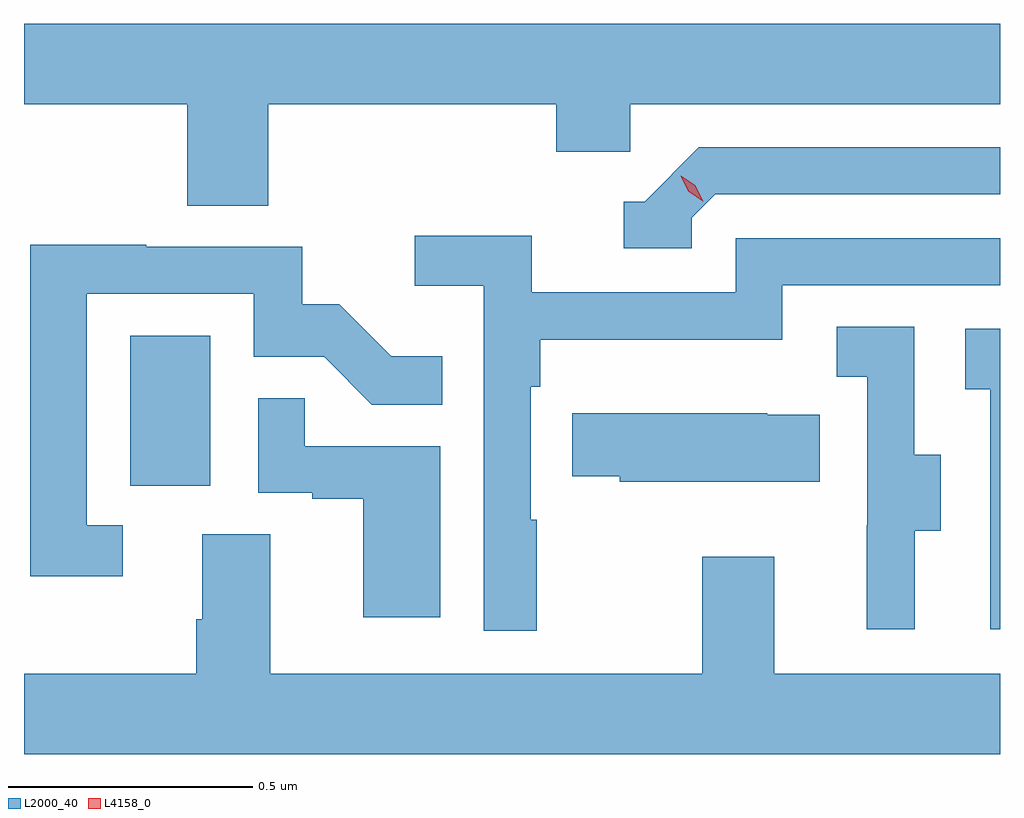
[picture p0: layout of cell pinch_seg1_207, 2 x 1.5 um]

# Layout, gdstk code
import gdstk
lib = gdstk.Library(unit=1e-6, precision=1e-09)
def R(c, l, rs):  # rectangles x0, y0, x1, y1
    for r in rs: c.add(gdstk.rectangle(r[:2], r[2:], *l))
def P(c, l, *ps):  # polygons
    for p in ps: c.add(gdstk.Polygon(p, *l))
L2000_40 = (2000, 40)
L4158_0 = (4158, 0)

pinch_seg1_207 = lib.new_cell('pinch_seg1_207')
R(pinch_seg1_207, L2000_40, [(1009.364,580.254,1009.528,580.561)])
P(pinch_seg1_207, L2000_40, [(1009.646,581.036),(1010.237,581.036),(1010.237,580.938),(1010.388,580.938),(1010.388,581.036),(1011.146,581.036),(1011.146,581.2),(1009.146,581.2),(1009.146,581.036),(1009.481,581.036),(1009.481,580.828),(1009.646,580.828)],
  [(1010.514,580.803),(1010.562,580.851),(1011.146,580.851),(1011.146,580.947),(1010.529,580.947),(1010.418,580.836),(1010.375,580.836),(1010.375,580.74),(1010.514,580.74)],
  [(1010.197,580.184),(1010.184,580.184),(1010.184,580.457),(1010.204,580.457),(1010.204,580.553),(1010.7,580.553),(1010.7,580.665),(1011.146,580.665),(1011.146,580.761),(1010.604,580.761),(1010.604,580.65),(1010.186,580.65),(1010.186,580.766),(1009.947,580.766),(1009.947,580.664),(1010.088,580.664),(1010.088,579.957),(1010.197,579.957)],
  [(1009.348,580.173),(1009.275,580.173),(1009.275,580.647),(1009.617,580.647),(1009.617,580.518),(1009.761,580.518),(1009.859,580.42),(1010.003,580.42),(1010.003,580.519),(1009.899,580.519),(1009.792,580.626),(1009.716,580.626),(1009.716,580.743),(1009.397,580.743),(1009.397,580.748),(1009.159,580.748),(1009.159,580.068),(1009.348,580.068)],
  [(1010.971,580.162),(1011.025,580.162),(1011.025,580.317),(1010.97,580.317),(1010.97,580.58),(1010.811,580.58),(1010.811,580.477),(1010.874,580.477),(1010.874,580.173),(1010.873,580.173),(1010.873,579.96),(1010.971,579.96)],
  [(1011.146,580.575),(1011.075,580.575),(1011.075,580.451),(1011.126,580.451),(1011.126,579.96),(1011.146,579.96)],
  [(1009.999,580.335),(1009.721,580.335),(1009.721,580.433),(1009.626,580.433),(1009.626,580.239),(1009.737,580.239),(1009.737,580.227),(1009.841,580.227),(1009.841,579.984),(1009.999,579.984)],
  [(1010.777,580.399),(1010.669,580.399),(1010.669,580.402),(1010.269,580.402),(1010.269,580.273),(1010.367,580.273),(1010.367,580.262),(1010.777,580.262)],
  [(1011.146,579.868),(1010.683,579.868),(1010.683,580.108),(1010.536,580.108),(1010.536,579.868),(1009.651,579.868),(1009.651,580.154),(1009.511,580.154),(1009.511,579.98),(1009.499,579.98),(1009.499,579.868),(1009.146,579.868),(1009.146,579.704),(1011.146,579.704)])
P(pinch_seg1_207, L4158_0, [(1010.537,580.837),(1010.507,580.857),(1010.492,580.889),(1010.492,580.889),(1010.492,580.889),(1010.522,580.87),(1010.538,580.837),(1010.538,580.837)])

lib.write_gds('pinch_seg1_207.gds')
